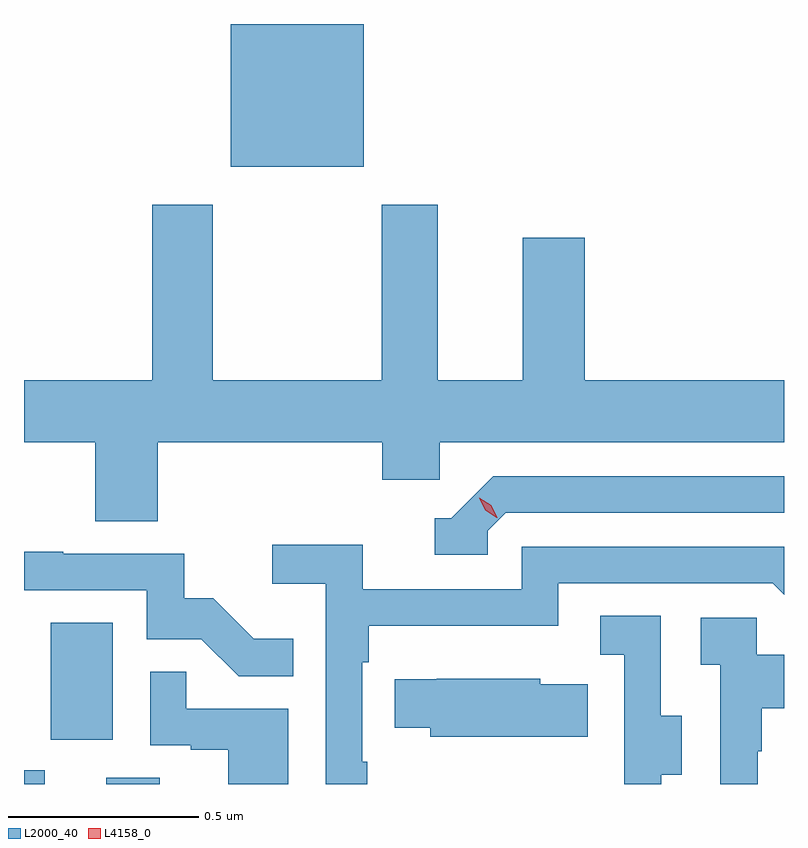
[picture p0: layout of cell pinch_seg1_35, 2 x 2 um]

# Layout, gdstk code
import gdstk
lib = gdstk.Library(unit=1e-6, precision=1e-09)
def R(c, l, rs):  # rectangles x0, y0, x1, y1
    for r in rs: c.add(gdstk.rectangle(r[:2], r[2:], *l))
def P(c, l, *ps):  # polygons
    for p in ps: c.add(gdstk.Polygon(p, *l))
L2000_40 = (2000, 40)
L4158_0 = (4158, 0)

pinch_seg1_35 = lib.new_cell('pinch_seg1_35')
R(pinch_seg1_35, L2000_40, [(1122.736,566.817,1122.79,566.853), (1122.953,566.817,1123.093,566.834), (1122.806,566.934,1122.97,567.241), (1123.28,568.442,1123.63,568.817)])
P(pinch_seg1_35, L2000_40, [(1123.088,567.716),(1123.679,567.716),(1123.679,567.618),(1123.83,567.618),(1123.83,567.716),(1124.736,567.716),(1124.736,567.88),(1124.212,567.88),(1124.212,568.255),(1124.048,568.255),(1124.048,567.88),(1123.825,567.88),(1123.825,568.342),(1123.678,568.342),(1123.678,567.88),(1123.233,567.88),(1123.233,568.342),(1123.073,568.342),(1123.073,567.88),(1122.736,567.88),(1122.736,567.716),(1122.923,567.716),(1122.923,567.508),(1123.088,567.508)],
  [(1123.956,567.483),(1124.004,567.531),(1124.736,567.531),(1124.736,567.627),(1123.971,567.627),(1123.86,567.516),(1123.817,567.516),(1123.817,567.42),(1123.956,567.42)],
  [(1123.639,566.876),(1123.626,566.876),(1123.626,567.137),(1123.643,567.137),(1123.643,567.233),(1124.142,567.233),(1124.142,567.345),(1124.706,567.345),(1124.736,567.315),(1124.736,567.441),(1124.046,567.441),(1124.046,567.33),(1123.628,567.33),(1123.628,567.446),(1123.389,567.446),(1123.389,567.344),(1123.53,567.344),(1123.53,566.817),(1123.639,566.817)],
  [(1123.445,567.199),(1123.341,567.199),(1123.234,567.306),(1123.158,567.306),(1123.158,567.423),(1122.839,567.423),(1122.839,567.428),(1122.736,567.428),(1122.736,567.327),(1123.059,567.327),(1123.059,567.198),(1123.203,567.198),(1123.301,567.1),(1123.445,567.1)],
  [(1124.413,566.842),(1124.467,566.842),(1124.467,566.997),(1124.412,566.997),(1124.412,567.26),(1124.253,567.26),(1124.253,567.157),(1124.316,567.157),(1124.316,566.853),(1124.315,566.853),(1124.315,566.817),(1124.413,566.817)],
  [(1124.667,566.903),(1124.677,566.903),(1124.677,567.017),(1124.736,567.017),(1124.736,567.157),(1124.664,567.157),(1124.664,567.255),(1124.517,567.255),(1124.517,567.131),(1124.568,567.131),(1124.568,566.817),(1124.667,566.817)],
  [(1123.432,567.015),(1123.163,567.015),(1123.163,567.113),(1123.068,567.113),(1123.068,566.919),(1123.175,566.919),(1123.175,566.907),(1123.274,566.907),(1123.274,566.817),(1123.432,566.817)],
  [(1124.219,567.079),(1124.094,567.079),(1124.094,567.094),(1123.822,567.094),(1123.822,567.093),(1123.711,567.093),(1123.711,566.965),(1123.805,566.965),(1123.805,566.942),(1124.219,566.942)])
P(pinch_seg1_35, L4158_0, [(1123.98,567.518),(1123.95,567.537),(1123.934,567.57),(1123.934,567.57),(1123.934,567.57),(1123.965,567.55),(1123.981,567.518),(1123.981,567.518)])

lib.write_gds('pinch_seg1_35.gds')
